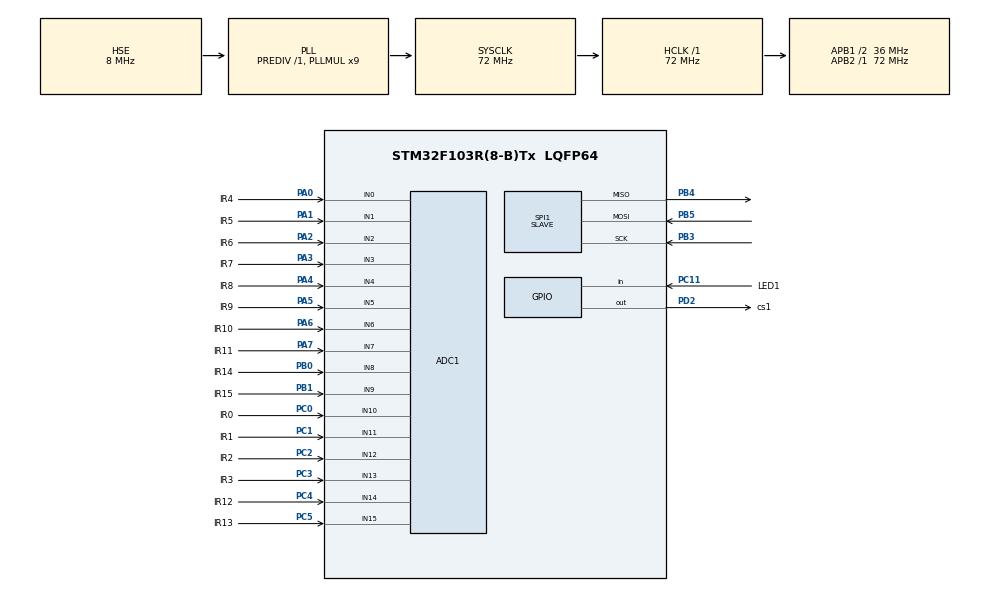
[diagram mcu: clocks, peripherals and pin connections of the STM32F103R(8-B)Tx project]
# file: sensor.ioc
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ADC1.Channel-0\#ChannelRegularConversion=ADC_CHANNEL_10
ADC1.Channel-1\#ChannelRegularConversion=ADC_CHANNEL_11
ADC1.Channel-10\#ChannelRegularConversion=ADC_CHANNEL_6
ADC1.Channel-11\#ChannelRegularConversion=ADC_CHANNEL_7
ADC1.Channel-12\#ChannelRegularConversion=ADC_CHANNEL_14
ADC1.Channel-13\#ChannelRegularConversion=ADC_CHANNEL_15
ADC1.Channel-14\#ChannelRegularConversion=ADC_CHANNEL_8
ADC1.Channel-15\#ChannelRegularConversion=ADC_CHANNEL_9
ADC1.Channel-2\#ChannelRegularConversion=ADC_CHANNEL_12
ADC1.Channel-3\#ChannelRegularConversion=ADC_CHANNEL_13
ADC1.Channel-4\#ChannelRegularConversion=ADC_CHANNEL_0
ADC1.Channel-5\#ChannelRegularConversion=ADC_CHANNEL_1
ADC1.Channel-6\#ChannelRegularConversion=ADC_CHANNEL_2
ADC1.Channel-7\#ChannelRegularConversion=ADC_CHANNEL_3
ADC1.Channel-8\#ChannelRegularConversion=ADC_CHANNEL_4
ADC1.Channel-9\#ChannelRegularConversion=ADC_CHANNEL_5
ADC1.ContinuousConvMode=ENABLE
ADC1.NbrOfConversion=16
ADC1.NbrOfConversionFlag=1
ADC1.Rank-0\#ChannelRegularConversion=1
ADC1.Rank-1\#ChannelRegularConversion=2
ADC1.Rank-10\#ChannelRegularConversion=11
ADC1.Rank-11\#ChannelRegularConversion=12
ADC1.Rank-12\#ChannelRegularConversion=13
ADC1.Rank-13\#ChannelRegularConversion=14
ADC1.Rank-14\#ChannelRegularConversion=15
ADC1.Rank-15\#ChannelRegularConversion=16
ADC1.Rank-2\#ChannelRegularConversion=3
ADC1.Rank-3\#ChannelRegularConversion=4
ADC1.Rank-4\#ChannelRegularConversion=5
ADC1.Rank-5\#ChannelRegularConversion=6
ADC1.Rank-6\#ChannelRegularConversion=7
ADC1.Rank-7\#ChannelRegularConversion=8
ADC1.Rank-8\#ChannelRegularConversion=9
ADC1.Rank-9\#ChannelRegularConversion=10
ADC1.SamplingTime-0\#ChannelRegularConversion=ADC_SAMPLETIME_71CYCLES_5
ADC1.SamplingTime-1\#ChannelRegularConversion=ADC_SAMPLETIME_71CYCLES_5
ADC1.SamplingTime-10\#ChannelRegularConversion=ADC_SAMPLETIME_71CYCLES_5
ADC1.SamplingTime-11\#ChannelRegularConversion=ADC_SAMPLETIME_71CYCLES_5
ADC1.SamplingTime-12\#ChannelRegularConversion=ADC_SAMPLETIME_71CYCLES_5
ADC1.SamplingTime-13\#ChannelRegularConversion=ADC_SAMPLETIME_71CYCLES_5
ADC1.SamplingTime-14\#ChannelRegularConversion=ADC_SAMPLETIME_71CYCLES_5
ADC1.SamplingTime-15\#ChannelRegularConversion=ADC_SAMPLETIME_71CYCLES_5
ADC1.SamplingTime-2\#ChannelRegularConversion=ADC_SAMPLETIME_71CYCLES_5
ADC1.SamplingTime-3\#ChannelRegularConversion=ADC_SAMPLETIME_71CYCLES_5
ADC1.SamplingTime-4\#ChannelRegularConversion=ADC_SAMPLETIME_71CYCLES_5
ADC1.SamplingTime-5\#ChannelRegularConversion=ADC_SAMPLETIME_71CYCLES_5
ADC1.SamplingTime-6\#ChannelRegularConversion=ADC_SAMPLETIME_71CYCLES_5
ADC1.SamplingTime-7\#ChannelRegularConversion=ADC_SAMPLETIME_71CYCLES_5
ADC1.SamplingTime-8\#ChannelRegularConversion=ADC_SAMPLETIME_71CYCLES_5
ADC1.SamplingTime-9\#ChannelRegularConversion=ADC_SAMPLETIME_71CYCLES_5
ADC1.master=1
Dma.ADC1.0.Direction=DMA_PERIPH_TO_MEMORY
Dma.ADC1.0.Instance=DMA1_Channel1
Dma.ADC1.0.MemDataAlignment=DMA_MDATAALIGN_HALFWORD
Dma.ADC1.0.MemInc=DMA_MINC_ENABLE
Dma.ADC1.0.Mode=DMA_CIRCULAR
Dma.ADC1.0.PeriphDataAlignment=DMA_PDATAALIGN_HALFWORD
Dma.ADC1.0.PeriphInc=DMA_PINC_DISABLE
Dma.ADC1.0.Priority=DMA_PRIORITY_LOW
Dma.Request0=ADC1
Mcu.Family=STM32F1
Mcu.Name=STM32F103R(8-B)Tx
Mcu.Package=LQFP64
NVIC.ADC1_2_IRQn=true\:0\:0\:false\:false\:true\:true\:true\:true
NVIC.DMA1_Channel1_IRQn=true\:0\:0\:false\:false\:true\:false\:true\:true
NVIC.PriorityGroup=NVIC_PRIORITYGROUP_4
NVIC.SPI1_IRQn=true\:0\:0\:false\:false\:true\:true\:true\:true
PA0-WKUP.GPIO_Label=IR4
PA0-WKUP.Signal=ADCx_IN0
PA1.GPIO_Label=IR5
PA1.Signal=ADCx_IN1
PA13.Mode=Serial_Wire
PA13.Signal=SYS_JTMS-SWDIO
PA14.Mode=Serial_Wire
PA14.Signal=SYS_JTCK-SWCLK
PA2.GPIO_Label=IR6
PA2.Signal=ADCx_IN2
PA3.GPIO_Label=IR7
PA3.Signal=ADCx_IN3
PA4.GPIO_Label=IR8
PA4.Signal=ADCx_IN4
PA5.GPIO_Label=IR9
PA5.Signal=ADCx_IN5
PA6.GPIO_Label=IR10
PA6.Signal=ADCx_IN6
PA7.GPIO_Label=IR11
PA7.Signal=ADCx_IN7
PB0.GPIO_Label=IR14
PB0.Signal=ADCx_IN8
PB1.GPIO_Label=IR15
PB1.Signal=ADCx_IN9
PB3.Mode=Full_Duplex_Slave
PB3.Signal=SPI1_SCK
PB4.Mode=Full_Duplex_Slave
PB4.Signal=SPI1_MISO
PB5.Mode=Full_Duplex_Slave
PB5.Signal=SPI1_MOSI
PC0.GPIO_Label=IR0
PC0.Signal=ADCx_IN10
PC1.GPIO_Label=IR1
PC1.Signal=ADCx_IN11
PC11.GPIO_Label=LED1
PC11.GPIO_PuPd=GPIO_PULLUP
PC11.Signal=GPIO_Input
PC14-OSC32_IN.Mode=LSE-External-Oscillator
PC14-OSC32_IN.Signal=RCC_OSC32_IN
PC15-OSC32_OUT.Mode=LSE-External-Oscillator
PC15-OSC32_OUT.Signal=RCC_OSC32_OUT
PC2.GPIO_Label=IR2
PC2.Signal=ADCx_IN12
PC3.GPIO_Label=IR3
PC3.Signal=ADCx_IN13
PC4.GPIO_Label=IR12
PC4.Signal=ADCx_IN14
PC5.GPIO_Label=IR13
PC5.Signal=ADCx_IN15
PD0-OSC_IN.Mode=HSE-External-Oscillator
PD0-OSC_IN.Signal=RCC_OSC_IN
PD1-OSC_OUT.Mode=HSE-External-Oscillator
PD1-OSC_OUT.Signal=RCC_OSC_OUT
PD2.GPIO_Label=cs1
PD2.Signal=GPIO_Output
ProjectManager.HeapSize=0x200
ProjectManager.StackSize=0x400
ProjectManager.TargetToolchain=CMake
RCC.ADCPresc=RCC_ADCPCLK2_DIV6
RCC.AHBFreq_Value=72000000
RCC.APB1CLKDivider=RCC_HCLK_DIV2
RCC.APB1Freq_Value=36000000
RCC.APB1TimFreq_Value=72000000
RCC.APB2Freq_Value=72000000
RCC.APB2TimFreq_Value=72000000
RCC.HCLKFreq_Value=72000000
RCC.PLLMUL=RCC_PLL_MUL9
RCC.PLLSourceVirtual=RCC_PLLSOURCE_HSE
RCC.SYSCLKFreq_VALUE=72000000
RCC.SYSCLKSource=RCC_SYSCLKSOURCE_PLLCLK
RCC.USBFreq_Value=72000000
SH.ADCx_IN0.0=ADC1_IN0,IN0
SH.ADCx_IN1.0=ADC1_IN1,IN1
SH.ADCx_IN10.0=ADC1_IN10,IN10
SH.ADCx_IN11.0=ADC1_IN11,IN11
SH.ADCx_IN12.0=ADC1_IN12,IN12
SH.ADCx_IN13.0=ADC1_IN13,IN13
SH.ADCx_IN14.0=ADC1_IN14,IN14
SH.ADCx_IN15.0=ADC1_IN15,IN15
SH.ADCx_IN2.0=ADC1_IN2,IN2
SH.ADCx_IN3.0=ADC1_IN3,IN3
SH.ADCx_IN4.0=ADC1_IN4,IN4
SH.ADCx_IN5.0=ADC1_IN5,IN5
SH.ADCx_IN6.0=ADC1_IN6,IN6
SH.ADCx_IN7.0=ADC1_IN7,IN7
SH.ADCx_IN8.0=ADC1_IN8,IN8
SH.ADCx_IN9.0=ADC1_IN9,IN9
SPI1.DataSize=SPI_DATASIZE_16BIT
SPI1.Direction=SPI_DIRECTION_2LINES
SPI1.Mode=SPI_MODE_SLAVE
SPI1.VirtualType=VM_SLAVE
board=custom

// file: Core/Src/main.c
/* USER CODE BEGIN Header */
/**
  ******************************************************************************
  * @file           : main.c
  * @brief          : Main program body
  ******************************************************************************
  * @attention
  *
  * Copyright (c) 2026 STMicroelectronics.
  * All rights reserved.
  *
  * This software is licensed under terms that can be found in the LICENSE file
  * in the root directory of this software component.
  * If no LICENSE file comes with this software, it is provided AS-IS.
  *
  ******************************************************************************
  */
/* USER CODE END Header */
#include "main.h"
#include "adc.h"
#include "dma.h"
#include "spi.h"
#include "gpio.h"

/* USER CODE BEGIN Includes */
#include <stdint.h>
#include <stdio.h>
#include <string.h>
#include <stdbool.h>
/* USER CODE END Includes */

/* USER CODE BEGIN PD */
#define SENSOR_COUNT      16
#define SPI_CMD_REQUEST   0x0055    // Command from main board to request sensor data
/* USER CODE END PD */

/* USER CODE BEGIN PV */
// ADC buffer - DMA fills this with 16 x 12-bit sensor values
// Using uint16_t since ADC is 12-bit but DMA transfers in half-words
uint16_t adc_buffer[SENSOR_COUNT];

// Double buffer for SPI transmission to ensure data consistency
// tx_buffer holds a snapshot of sensor data for transmission
uint16_t spi_tx_buffer[SENSOR_COUNT];

// Received command from main board (16-bit to match SPI data size)
uint8_t spi_rx_cmd;

// Validity flags - marks data as valid only after complete DMA transfer
volatile bool adc_data_valid = false;
volatile bool spi_tx_ready = true;  // Ready to prepare new transmission

/* USER CODE END PV */

void SystemClock_Config(void);

/* USER CODE BEGIN 0 */

// /**
//  * @brief  SPI Rx Complete Callback - triggered when command received from main board
//  * @param  hspi: SPI handle
//  * @note   Workflow: Receive flag -> Transmit sensor data back
//  */
// void HAL_SPI_RxCpltCallback(SPI_HandleTypeDef *hspi)
// {
//   if (hspi == &hspi1) {
//     // Check if main board sent request command

//   HAL_SPI_Receive_IT(&hspi1, (uint8_t*)&spi_rx_cmd, 1);
//   }

// }

void HAL_SPI_RxCpltCallback(SPI_HandleTypeDef *hspi){
  if (hspi == &hspi1){
     if (spi_rx_cmd == SPI_CMD_REQUEST) {
      // Transmit 16 sensor values (16-bit each) back to main board
      // Using half-word DMA since SPI is configured for 16-bit data
      HAL_SPI_Transmit_IT(&hspi1, (uint8_t*)adc_buffer, SENSOR_COUNT);
    }else{
      HAL_SPI_Receive_IT(&hspi1, (uint8_t*)&spi_rx_cmd,  1);
    }
  }
}

void HAL_SPI_TxCpltCallback(SPI_HandleTypeDef *hspi){
  if (hspi == &hspi1){
    HAL_SPI_Receive_IT(&hspi1, (uint8_t*)&spi_rx_cmd, 1);
  }
}

/* USER CODE END 0 */

int main(void)
{

  /* MCU Configuration--------------------------------------------------------*/

  /* Reset of all peripherals, Initializes the Flash interface and the Systick. */
  HAL_Init();

  /* Configure the system clock */
  SystemClock_Config();

  /* Initialize all configured peripherals */
  MX_GPIO_Init();
  MX_DMA_Init();
  MX_ADC1_Init();
  MX_SPI1_Init();
  /* USER CODE BEGIN 2 */
  // Start ADC with DMA - continuous conversion of 16 channels
  // Using uint16_t buffer since ADC values are 12-bit (fits in 16-bit)

  HAL_ADC_Start_DMA(&hadc1, (uint32_t*)adc_buffer,  16);
  HAL_GPIO_WritePin(cs1_GPIO_Port, cs1_Pin, GPIO_PIN_RESET);

  // Initialize SPI slave - start listening for commands
  // Size is 1 because we receive one 16-bit command word
  HAL_SPI_Receive_IT(&hspi1, (uint8_t*)&spi_rx_cmd, 1);
  led_on(LED1);
  /* USER CODE END 2 */

  /* Infinite loop */
  while (1)
  {

  }
}

void SystemClock_Config(void)
{
  RCC_OscInitTypeDef RCC_OscInitStruct = {0};
  RCC_ClkInitTypeDef RCC_ClkInitStruct = {0};
  RCC_PeriphCLKInitTypeDef PeriphClkInit = {0};

  /** Initializes the RCC Oscillators according to the specified parameters
  * in the RCC_OscInitTypeDef structure.
  */
  RCC_OscInitStruct.OscillatorType = RCC_OSCILLATORTYPE_HSE;
  RCC_OscInitStruct.HSEState = RCC_HSE_ON;
  RCC_OscInitStruct.HSEPredivValue = RCC_HSE_PREDIV_DIV1;
  RCC_OscInitStruct.HSIState = RCC_HSI_ON;
  RCC_OscInitStruct.PLL.PLLState = RCC_PLL_ON;
  RCC_OscInitStruct.PLL.PLLSource = RCC_PLLSOURCE_HSE;
  RCC_OscInitStruct.PLL.PLLMUL = RCC_PLL_MUL9;
  if (HAL_RCC_OscConfig(&RCC_OscInitStruct) != HAL_OK)
  {
    Error_Handler();
  }

  /** Initializes the CPU, AHB and APB buses clocks
  */
  RCC_ClkInitStruct.ClockType = RCC_CLOCKTYPE_HCLK|RCC_CLOCKTYPE_SYSCLK
                              |RCC_CLOCKTYPE_PCLK1|RCC_CLOCKTYPE_PCLK2;
  RCC_ClkInitStruct.SYSCLKSource = RCC_SYSCLKSOURCE_PLLCLK;
  RCC_ClkInitStruct.AHBCLKDivider = RCC_SYSCLK_DIV1;
  RCC_ClkInitStruct.APB1CLKDivider = RCC_HCLK_DIV2;
  RCC_ClkInitStruct.APB2CLKDivider = RCC_HCLK_DIV1;

  if (HAL_RCC_ClockConfig(&RCC_ClkInitStruct, FLASH_LATENCY_2) != HAL_OK)
  {
    Error_Handler();
  }
  PeriphClkInit.PeriphClockSelection = RCC_PERIPHCLK_ADC;
  PeriphClkInit.AdcClockSelection = RCC_ADCPCLK2_DIV6;
  if (HAL_RCCEx_PeriphCLKConfig(&PeriphClkInit) != HAL_OK)
  {
    Error_Handler();
  }
}

void Error_Handler(void)
{
  __disable_irq();
  while (1)
  {
  }
}
